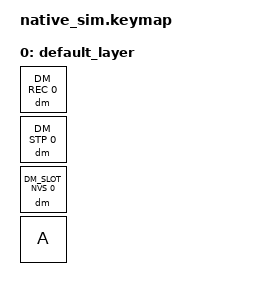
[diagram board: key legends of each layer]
/*
 * Copyright (c) 2026 The ZMK Contributors
 * SPDX-License-Identifier: MIT
 *
 * Test: Record then let assign timeout expire without saving.
 *
 * Sequence:
 * 1. Press REC to start recording
 * 2. Press A
 * 3. Press STP to stop recording
 * 4. Wait for ASSIGN_TIMEOUT (default 10s) without pressing slot
 *
 * Expected: Recording discarded, state returns to IDLE
 */

#include <behaviors.dtsi>
#include <dt-bindings/zmk/keys.h>
#include <dt-bindings/zmk/kscan_mock.h>
#include <dt-bindings/zmk/dynamic_macros.h>
#include "../behavior_keymap.dtsi"

/ {
    keymap {
        compatible = "zmk,keymap";
        default_layer {
            bindings = <
                &dm DM_REC 0
                &dm DM_STP 0
                &dm DM_SLOT_NVS 0
                &kp A
            >;
        };
    };
};

&kscan {
    events = <
        /* Start recording */
        ZMK_MOCK_PRESS(0,0,10)
        ZMK_MOCK_RELEASE(0,0,20)

        /* Record: A */
        ZMK_MOCK_PRESS(0,3,100)
        ZMK_MOCK_RELEASE(0,3,150)

        /* Stop recording */
        ZMK_MOCK_PRESS(0,1,200)
        ZMK_MOCK_RELEASE(0,1,210)

        /* Wait for timeout (10s+) then try to play - should be empty */
        ZMK_MOCK_PRESS(0,2,15000)
        ZMK_MOCK_RELEASE(0,2,15010)
    >;
};
